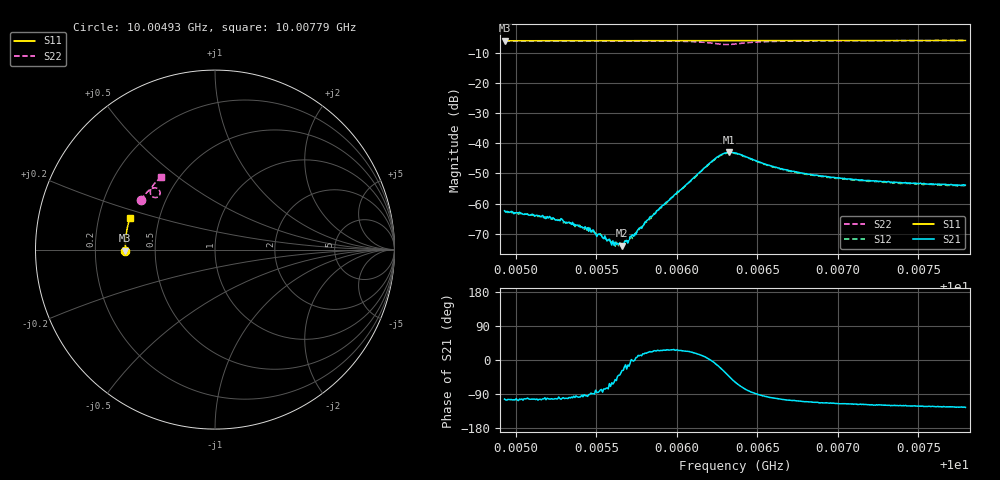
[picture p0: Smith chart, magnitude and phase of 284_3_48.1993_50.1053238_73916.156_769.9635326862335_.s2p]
#  HZ  S  RI  R  50.00
! Rohde & Schwarz Vector Network Analyzer
! Rohde-Schwarz,ZNB20-2Port,1311601062101988,3.16
! Created: UTC 3/20/2024, 11:48:48 AM
! freq[Hz]  re:S11  im:S11  re:S21  im:S21  re:S12  im:S12  re:S22  im:S22
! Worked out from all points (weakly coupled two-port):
!   401 points, 10.00493 GHz to 10.00779 GHz, reference 50 ohm
!   highest |S21| = -42.99 dB at 10.00633 GHz (marker M1); lowest = -73.9 dB at 10.00566 GHz (marker M2)
!   lowest |S11| = -6.0 dB at 10.00493 GHz (marker M3), VSWR 3.00, Z = 16.7 - j0.297 ohm
!   |S11| at or under -10 dB: nowhere
!   |S22| runs from -7.3 to -6.0 dB; largest |S21 - S12| = 0.00039
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1.0004931e10  -0.4994 -0.00668  -0.000173 -0.000741  -0.000146 -0.00071  -0.4116 0.2739
1.000506e10  -0.4997 0.00184  -0.000149 -0.000658  -0.000121 -0.000661  -0.4069 0.2816
1.0005224e10  -0.4998 0.0124  -0.000118 -0.000553  -6.94e-05 -0.000547  -0.4006 0.2911
1.0005296e10  -0.4998 0.017  -8.53e-05 -0.000507  -7.83e-05 -0.000474  -0.3976 0.2954
1.0005346e10  -0.4999 0.0203  -6.12e-05 -0.000449  -5.86e-05 -0.000473  -0.3956 0.2986
1.000541e10  -0.4998 0.0245  -1.78e-05 -0.000415  -1.38e-05 -0.000394  -0.3929 0.3025
1.0005475e10  -0.4997 0.0287  5.1e-06 -0.000363  2.4e-05 -0.000342  -0.3898 0.3063
1.0005603e10  -0.4995 0.037  0.000108 -0.000216  0.000138 -0.0002  -0.3835 0.3143
1.0005632e10  -0.4994 0.039  0.00016 -0.000149  0.000159 -0.000148  -0.3822 0.3159
1.0005661e10  -0.4992 0.0407  0.000178 -9.22e-05  0.000182 -8.81e-05  -0.3806 0.3178
1.0005725e10  -0.499 0.045  0.000306 -7.47e-06  0.000265 1.36e-06  -0.3769 0.3218
1.0005746e10  -0.4989 0.0463  0.000307 3.41e-05  0.000331 4.5e-05  -0.3754 0.3232
1.0005889e10  -0.4982 0.0556  0.000736 0.000336  0.000704 0.000389  -0.3652 0.3326
1.0006233e10  -0.4956 0.0775  0.00539 -0.000661  0.00531 -0.000404  -0.3094 0.3292
1.0006283e10  -0.4949 0.0806  0.00595 -0.00286  0.00596 -0.00255  -0.3069 0.3091
1.0006326e10  -0.4946 0.0831  0.00509 -0.00493  0.00524 -0.00458  -0.318 0.2938
1.0006361e10  -0.4946 0.0853  0.00364 -0.00588  0.00387 -0.00559  -0.3322 0.2897
1.000659e10  -0.4927 0.1  -0.000692 -0.0041  -0.000493 -0.00408  -0.36 0.3273
1.0006841e10  -0.4898 0.116  -0.0011 -0.00281  -0.000942 -0.0028  -0.3492 0.3521
1.0007091e10  -0.4862 0.1317  -0.00111 -0.00227  -0.00098 -0.00227  -0.3369 0.3683
1.000732e10  -0.4827 0.146  -0.00113 -0.00201  -0.00103 -0.00202  -0.3253 0.3808
1.0007792e10  -0.4738 0.1751  -0.00117 -0.00167  -0.00105 -0.00165  -0.3014 0.403
